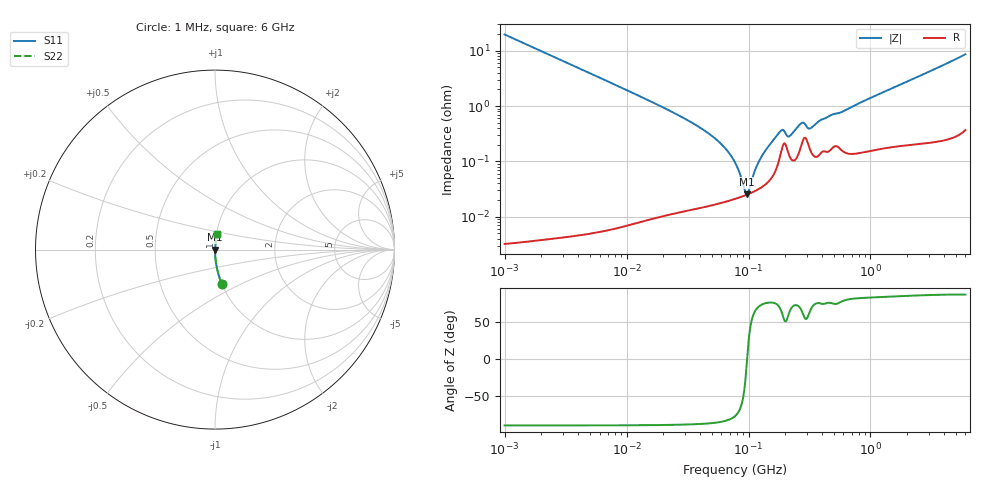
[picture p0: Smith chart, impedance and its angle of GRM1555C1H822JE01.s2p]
!Murata Part Number: GRM1555C1H822JE01
!These Parameters are Measured in Series Mode Connection
!Data Generated on Mar 30, 2021
!  o--ll--o
!Port1  Port2
!  o------o
!Operation Temp=25[degC], DC Bias Voltage=0[V]
!Freq. Start=1000[kHz] Stop=6[GHz] 401[Steps]
# Hz S RI R 50
!Freq.(Hz) S11(Real) S11(Imag) S21(Real) S21(Imag) S12(Real) S12(Imag) S22(Real) S22(Imag)
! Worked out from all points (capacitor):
!   401 points, 1 MHz to 6 GHz, reference 50 ohm
!   read as one part in series: C = 8.06 nF near 1.044 MHz
!   lowest |Z| = 25.2 mohm at 96.28 MHz (marker M1)
!   series resonance near 97.3 MHz, so ESL is about 330 pH
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1000000  0.0376 -0.19  0.9624 0.19  0.9624 0.19  0.0376 -0.19
4293785  0.00215 -0.0458  0.9979 0.0458  0.9979 0.0458  0.00215 -0.0458
1.843659e7  0.000204 -0.0103  0.9998 0.0103  0.9998 0.0103  0.000204 -0.0103
3.316698e7  0.000158 -0.00523  0.9998 0.00523  0.9998 0.00523  0.000158 -0.00523
4.905945e7  0.000167 -0.00299  0.9998 0.00299  0.9998 0.00299  0.000167 -0.00299
6.368941e7  0.000187 -0.00177  0.9998 0.00177  0.9998 0.00177  0.000187 -0.00177
7.745967e7  0.00021 -0.000935  0.9998 0.000935  0.9998 0.000935  0.00021 -0.000935
8.450008e7  0.000223 -0.000577  0.9998 0.000577  0.9998 0.000577  0.000223 -0.000577
9.218041e7  0.000239 -0.000221  0.9998 0.000221  0.9998 0.000221  0.000239 -0.000221
9.627852e7  0.000248 -4.32e-05  0.9998 4.32e-05  0.9998 4.32e-05  0.000248 -4.32e-05
1.005588e8  0.000258 0.000136  0.9997 -0.000136  0.9997 -0.000136  0.000258 0.000136
1.121107e8  0.000288 0.000591  0.9997 -0.000591  0.9997 -0.000591  0.000288 0.000591
1.249896e8  0.000329 0.00107  0.9997 -0.00107  0.9997 -0.00107  0.000329 0.00107
1.809028e8  0.00121 0.00321  0.9988 -0.00321  0.9988 -0.00321  0.00121 0.00321
1.930997e8  0.00204 0.00306  0.998 -0.00306  0.998 -0.00306  0.00204 0.00306
2.152823e8  0.00129 0.00251  0.9987 -0.00251  0.9987 -0.00251  0.00129 0.00251
2.734687e8  0.00209 0.00449  0.9979 -0.00449  0.9979 -0.00449  0.00209 0.00449
3.115874e8  0.00192 0.00341  0.9981 -0.00341  0.9981 -0.00341  0.00192 0.00341
3.325952e8  0.00137 0.00393  0.9986 -0.00393  0.9986 -0.00393  0.00137 0.00393
3.958029e8  0.00147 0.00549  0.9985 -0.00549  0.9985 -0.00549  0.00147 0.00549
1.428092e9  0.00217 0.0198  0.9978 -0.0198  0.9978 -0.0198  0.00217 0.0198
6e9  0.011 0.0853  0.989 -0.0853  0.989 -0.0853  0.011 0.0853
